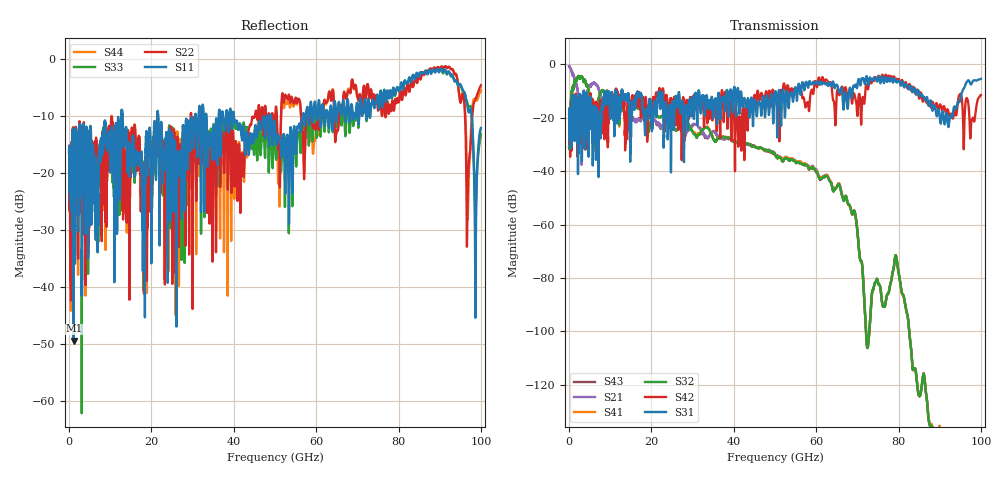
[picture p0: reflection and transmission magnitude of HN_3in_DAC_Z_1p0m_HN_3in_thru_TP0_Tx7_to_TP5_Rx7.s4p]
# GHz S RI R 45
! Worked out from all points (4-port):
!   4000 points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, 25 MHz to 100 GHz, reference 45 ohm
!   strongest paths, dB at 25 MHz, 25.02 GHz, 50.02 GHz, 75.03 GHz, 100 GHz:
!     S31: -18.6, -14.9, -10.4, -5.1, -5.5
!     S42: -18.6, -16.6, -12.4, -4.6, -11.5
!     S32: -30.9, -24.1, -33.6, -81.7, -
!     S41: -30.9, -23.7, -33.7, -81.7, -
!     S21: -0.7, -19.8, -33.5, -81.7, -
!     S43: -0.7, -19.9, -33.9, -81.7, -
!   lowest |S11| = -49.4 dB at 1.125 GHz (marker M1), VSWR 1.01, Z = 44.8 + j0.189 ohm
!   |S11| at or under -10 dB: start of sweep to 12.67 GHz; 12.99 GHz to 21.42 GHz (8.433 GHz wide, 49 % of centre); 21.66 GHz to 30.6 GHz (8.943 GHz wide, 34.2 % of centre)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
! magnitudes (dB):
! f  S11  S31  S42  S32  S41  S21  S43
! 25 MHz  -16.5  -18.6  -18.6  -30.9  -30.9  -0.7  -0.7
! 1.125 GHz  -49.4  -24.2  -21.7  -8.0  -8.0  -4.0  -4.0
! 62.6 GHz  -9.0  -7.1  -5.9  -41.7  -41.4  -41.4  -41.7
! 71.88 GHz  -7.2  -7.1  -11.6  -93.1  -93.1  -93.2  -93.0
! 92.75 GHz  -2.8  -19.4  -18.5  -145.8  -145.9  -145.8  -145.8
! 96.9 GHz  -9.0  -6.0  -14.2  -177.5  -186.8  -177.8  -183.7
! 100 GHz  -12.1  -5.5  -11.5  -  -  -  -
